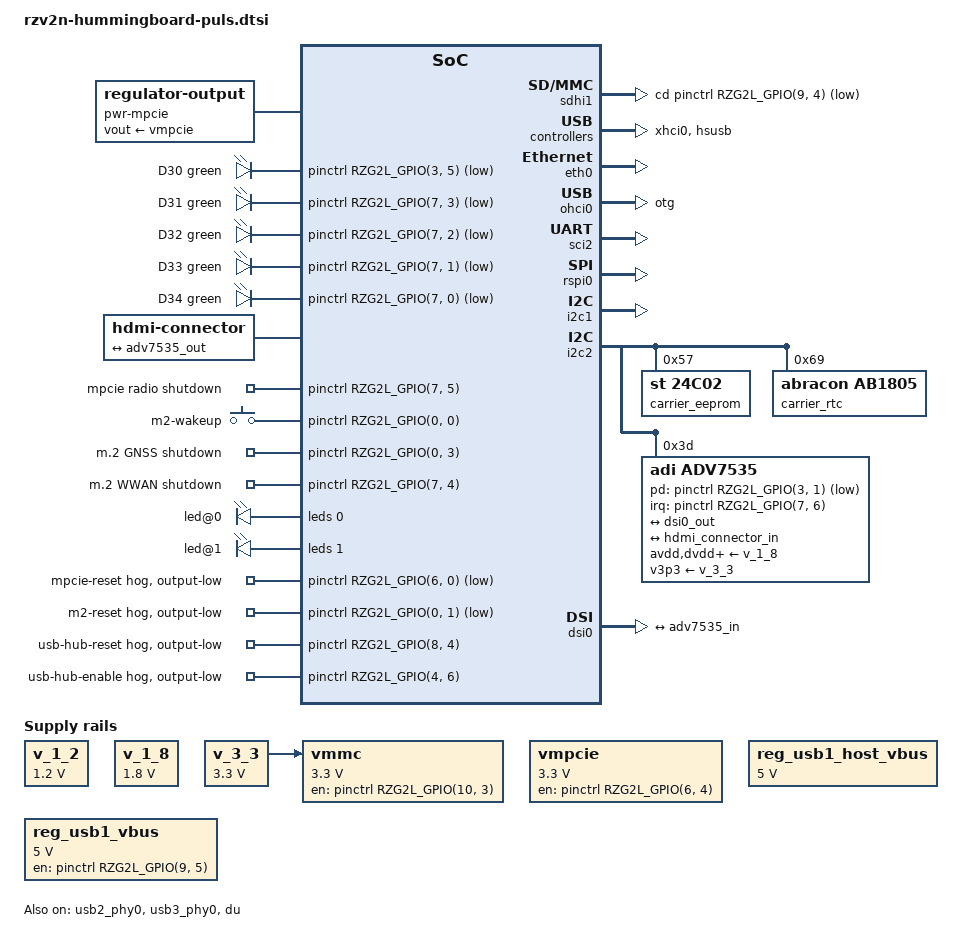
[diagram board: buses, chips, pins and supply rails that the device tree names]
// SPDX-License-Identifier: (GPL-2.0-only OR BSD-2-Clause)
/*
* Device Tree Source for the RZ Solidrun HummingBoard
*
* Copyright (C) 2025 SolidRun Ltd.
*/

#include <dt-bindings/gpio/gpio.h>
#include <dt-bindings/pinctrl/rzg2l-pinctrl.h>
#include <dt-bindings/leds/common.h>

/ {
	aliases {
		rtc0 = &carrier_rtc;
		rtc1 = &pmic_rtc;
	};

	v_1_2: regulator-1-2 {
		compatible = "regulator-fixed";
		regulator-name = "1v2";
		regulator-min-microvolt = <1200000>;
		regulator-max-microvolt = <1200000>;
	};

	v_1_8: regulator-1-8 {
		compatible = "regulator-fixed";
		regulator-name = "fixed-1.8V";
		regulator-min-microvolt = <1800000>;
		regulator-max-microvolt = <1800000>;
	};

	v_3_3: regulator-3-3 {
		compatible = "regulator-fixed";
		regulator-name = "3v3";
		regulator-min-microvolt = <3300000>;
		regulator-max-microvolt = <3300000>;
	};

	vmmc: regulator-mmc {
		compatible = "regulator-fixed";
		regulator-name = "vmmc";
		vin-supply = <&v_3_3>;
		regulator-min-microvolt = <3300000>;
		regulator-max-microvolt = <3300000>;
		gpios = <&pinctrl RZG2L_GPIO(10, 3) GPIO_ACTIVE_LOW>;
		enable-active-high;
		gpio-open-drain;
		regulator-always-on;
	};

	vmpcie: regulator-mpcie-3-3 {
		/* supplies mpcie and m2 connectors */
		compatible = "regulator-fixed";
		regulator-name = "vmpcie";
		regulator-min-microvolt = <3300000>;
		regulator-max-microvolt = <3300000>;
		gpio = <&pinctrl RZG2L_GPIO(6, 4) GPIO_ACTIVE_HIGH>;
		enable-active-high;
		regulator-boot-on;
	};

	reg_usb1_host_vbus: regulator-usb1-host-vbus {
		compatible = "regulator-fixed";
		regulator-name = "usb1_host_vbus";
		pinctrl-names = "default";
		regulator-min-microvolt = <5000000>;
		regulator-max-microvolt = <5000000>;
		//gpio = <&pinctrl RZG2L_GPIO(x, x) GPIO_ACTIVE_HIGH>; /* Not Connected J9[37] */
		regulator-always-on;
		enable-active-high;
	};

	reg_usb1_vbus: regulator-usb1-vbus {
		compatible = "regulator-fixed";
		regulator-name = "usb1_vbus";
		pinctrl-names = "default";
		regulator-min-microvolt = <5000000>;
		regulator-max-microvolt = <5000000>;
		gpio = <&pinctrl RZG2L_GPIO(9, 5) GPIO_ACTIVE_HIGH>;
		gpio-open-drain;
		regulator-always-on;
		enable-active-high;
	};

	pwr-mpcie {
		compatible = "regulator-output";
		vout-supply = <&vmpcie>;
	};

	leds {
		compatible = "gpio-leds";

		led-0 {
			label = "D30";
			color = <LED_COLOR_ID_GREEN>;
			gpios = <&pinctrl RZG2L_GPIO(3, 5) GPIO_ACTIVE_LOW>;
			default-state = "on";
		};

		led-1 {
			label = "D31";
			color = <LED_COLOR_ID_GREEN>;
			gpios = <&pinctrl RZG2L_GPIO(7, 3) GPIO_ACTIVE_LOW>;
			default-state = "on";
		};

		led-2 {
			label = "D32";
			color = <LED_COLOR_ID_GREEN>;
			gpios = <&pinctrl RZG2L_GPIO(7, 2) GPIO_ACTIVE_LOW>;
			default-state = "on";
		};

		led-3 {
			label = "D33";
			color = <LED_COLOR_ID_GREEN>;
			gpios = <&pinctrl RZG2L_GPIO(7, 1) GPIO_ACTIVE_LOW>;
			default-state = "on";
		};

		led-4 {
			label = "D34";
			color = <LED_COLOR_ID_GREEN>;
			gpios = <&pinctrl RZG2L_GPIO(7, 0) GPIO_ACTIVE_LOW>;
			default-state = "on";
		};
	};

	hdmi-connector {
		compatible = "hdmi-connector";
		label = "hdmi";
		type = "d";

		port {
			hdmi_connector_in: endpoint {
				remote-endpoint = <&adv7535_out>;
			};
		};
	};

	rfkill-mpcie-wifi {
		/*
		 * The mpcie connector only has USB,
		 * therefore this rfkill is for cellular radios only.
		 */
		compatible = "rfkill-gpio";
		label = "mpcie radio";
		radio-type = "wwan";
		/* rfkill-gpio inverts internally */
		shutdown-gpios = <&pinctrl RZG2L_GPIO(7, 5) GPIO_ACTIVE_HIGH>;
	};

	 gpio-keys {
		compatible = "gpio-keys";

		wakeup-event {
			label = "m2-wakeup";
			interrupts-extended = <&pinctrl RZG2L_GPIO(0, 0) IRQ_TYPE_EDGE_FALLING>;
			linux,code = <KEY_WAKEUP>;
			wakeup-source;
		};
	};

	rfkill-m2-gnss {
		compatible = "rfkill-gpio";
		label = "m.2 GNSS";
		radio-type = "gps";
		/* rfkill-gpio inverts internally */
		shutdown-gpios = <&pinctrl RZG2L_GPIO(0, 3) GPIO_ACTIVE_HIGH>;
	};

	/* M.2 is B-keyed, so w-disable is for WWAN */
	rfkill-m2-wwan {
		compatible = "rfkill-gpio";
		label = "m.2 WWAN";
		radio-type = "wwan";
		/* rfkill-gpio inverts internally */
		shutdown-gpios = <&pinctrl RZG2L_GPIO(7, 4) GPIO_ACTIVE_HIGH>;
	};
};

&sdhi1 {
	cd-gpios = <&pinctrl RZG2L_GPIO(9, 4) GPIO_ACTIVE_LOW>;
};

&xhci0 {
	status = "okay";
};

&eth0 {
	status = "okay";
};

&eth1 {
	/* this board does not use second phy / ethernet on SoM */
	status = "disabled";
};

&hsusb {
	status = "okay";
};

&ohci0 {
	spurious-oc;
	dr_mode = "otg";
	status = "okay";
};

&usb2_phy0 {
	dr_mode = "host";
	status = "okay";
};

&usb3_phy0 {
	dr_mode = "host";
	status = "okay";
};

/* mikrobus uart (uart2) */
&sci2 {
	status = "okay";
};

/* mikrobus spi */
&rspi0 {
	num-cs = <1>;
	pinctrl-names = "default";
	pinctrl-0 = <&spi0_pins_no_ss>;
	cs-gpios = <&pinctrl RZG2L_GPIO(9, 3) GPIO_ACTIVE_LOW>;
	status = "okay";
};

&i2c1 {
	status = "okay";
};

&i2c2 {
	status = "okay";

	carrier_eeprom: eeprom@57 {
		compatible = "st,24c02", "atmel,24c02";
		reg = <0x57>;
		pagesize = <16>;
	};

	carrier_rtc: rtc@69 {
		compatible = "abracon,ab1805";
		reg = <0x69>;
		abracon,tc-diode = "schottky";
		abracon,tc-resistor = <3>;
	};

	adv7535: hdmi@3d {
		compatible = "adi,adv7535";
		status = "okay";
		reg = <0x3d>, <0x3f>, <0x3c>, <0x38>;
		reg-names = "main", "edid", "cec", "packet";
		adi,dsi-lanes = <4>;
		avdd-supply = <&v_1_8>;
		dvdd-supply = <&v_1_8>;
		pvdd-supply = <&v_1_8>;
		a2vdd-supply = <&v_1_8>;
		v3p3-supply = <&v_3_3>;

		pd-gpios = <&pinctrl RZG2L_GPIO(3, 1) GPIO_ACTIVE_LOW>;
		interrupts-extended = <&pinctrl RZG2L_GPIO(7, 6) IRQ_TYPE_EDGE_FALLING>;
		interrupt-parent = <&pinctrl>;

		ports {
			#address-cells = <1>;
			#size-cells = <0>;

			port@0 {
				reg = <0>;
				adv7535_in: endpoint {
					remote-endpoint = <&dsi0_out>;
				};
			};

			port@1 {
				reg = <1>;
				adv7535_out: endpoint {
					remote-endpoint = <&hdmi_connector_in>;
				};
			};
		};
	};
};

&du {
	status = "okay";
};

&dsi0 {
	status = "okay";

	ports {
		port@1 {
			dsi0_out: endpoint {
				remote-endpoint = <&adv7535_in>;
				data-lanes = <1 2 3 4>;
			};
		};
	};
};

&phy0 {
	leds {
		#address-cells = <1>;
		#size-cells = <0>;

		led@0 {
			reg = <0>;
			color = <LED_COLOR_ID_ORANGE>;
			function = LED_FUNCTION_LAN;
			default-state = "keep";
		};

		led@1 {
			reg = <1>;
			color = <LED_COLOR_ID_GREEN>;
			function = LED_FUNCTION_LAN;
			default-state = "keep";
		};
	};
};

&pinctrl {
	pinctrl-names = "default";

	mpcie_rst_hog: mpcie-reset-hog {
		gpio-hog;
		gpios = <RZG2L_GPIO(6, 0) GPIO_ACTIVE_LOW>;
		output-low;
		line-name = "mpcie-reset";
	};

	m2-reset-hog {
		gpio-hog;
		gpios = <RZG2L_GPIO(0, 1) GPIO_ACTIVE_LOW>;
		output-low;
		line-name = "m2-reset";
	};

	/*
	 * USB hub is disabled due to I/O voltage level incompatibility.
	 * The SoM provides 1.8V I/O levels on these GPIO pins, but the
	 * USB hub requires 3.3V I/O signaling. This voltage mismatch
	 * prevents proper communication with the hub IC.
	 * Keep hub in reset and power disabled to avoid potential issues.
	 */
	usb-hub-reset-hog {
		gpio-hog;
		gpios = <RZG2L_GPIO(8, 4) GPIO_ACTIVE_HIGH>;
		output-low;  /* Assert reset (active-high) to disable hub */
		line-name = "usb-hub-reset";
	};

	usb-hub-enable-hog {
		gpio-hog;
		gpios = <RZG2L_GPIO(4, 6) GPIO_ACTIVE_HIGH>;
		output-low;  /* Keep power disabled (active-high) */
		line-name = "usb-hub-enable";
	};

	spi0_pins_no_ss: spi0 {
			pinmux = <RZG2L_PORT_PINMUX(9, 0, 1)>, /* MOSIA */
			<RZG2L_PORT_PINMUX(9, 1, 1)>, /* MISOA */
			<RZG2L_PORT_PINMUX(9, 2, 1)>; /* RSPCK */
	};
};
